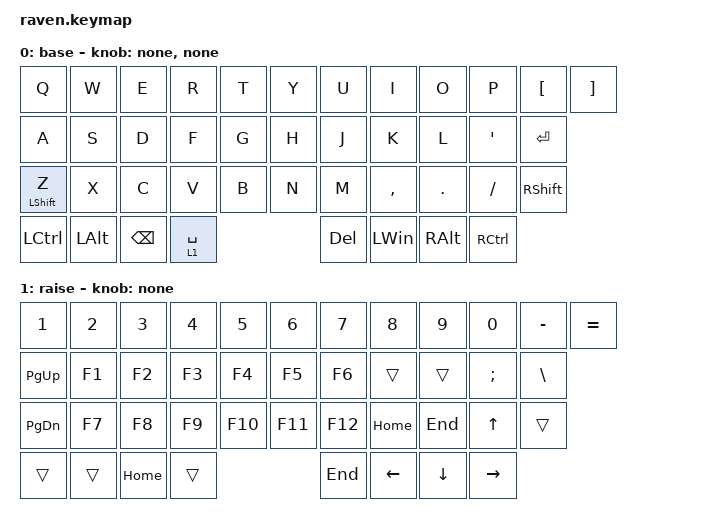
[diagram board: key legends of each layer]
#include <behaviors.dtsi>
#include <dt-bindings/zmk/keys.h>

// dt-formatter: indent = "  "
// dt-formatter: multilineIntegerCellsIndent = "reindent"
// dt-formatter: multilineListCommaStyle = "leading"

/ {
  combos {
    compatible = "zmk,combos";

    esc {
      bindings = <&kp ESCAPE>;
      key-positions = <0 1>;
    };

    tab {
      bindings = <&kp TAB>;
      key-positions = <12 13>;
    };

    caps {
      bindings = <&kp CAPS>;
      key-positions = <12 13>;
    };

    pgup {
      bindings = <&kp PAGE_UP>;
      key-positions = <23 32>;
    };

    pgdn {
      bindings = <&kp PAGE_DOWN>;
      key-positions = <23 40>;
    };

    home {
      bindings = <&kp HOME>;
      key-positions = <23 39>;
    };

    end {
      bindings = <&kp END>;
      key-positions = <23 41>;
    };
  };

  macros {
  };

  behaviors {
  };

  conditional_layers {
    compatible = "zmk,conditional-layers";
  };

  keymap {
    compatible = "zmk,keymap";

    base {
      bindings = <
        &kp Q             &kp W         &kp E  &kp R          &kp T        &kp Y              &kp U  &kp I         &kp O          &kp P      &kp LEFT_BRACKET  &kp RIGHT_BRACKET
        &kp A             &kp S         &kp D  &kp F          &kp G        &kp H              &kp J  &kp K         &kp L          &kp SQT    &kp ENTER
        &mt LEFT_SHIFT Z  &kp X         &kp C  &kp V          &kp B        &kp N              &kp M  &kp COMMA     &kp PERIOD     &kp SLASH  &kp RIGHT_SHIFT
        &kp LCTRL         &kp LEFT_ALT         &kp BACKSPACE  &lt 1 SPACE         &kp DELETE         &kp LEFT_WIN  &kp RIGHT_ALT  &kp RCTRL
      >;

      sensor-bindings = <&none>, <&none>;
    };

    raise {
      bindings = <
        &kp N1         &kp N2  &kp N3  &kp N4    &kp N5   &kp N6            &kp N7   &kp N8          &kp N9    &kp N0        &kp MINUS  &kp EQUAL
        &kp PAGE_UP    &kp F1  &kp F2  &kp F3    &kp F4   &kp F5            &kp F6   &trans          &trans    &kp SEMI      &kp BSLH
        &kp PAGE_DOWN  &kp F7  &kp F8  &kp F9    &kp F10  &kp F11           &kp F12  &kp HOME        &kp END   &kp UP_ARROW  &trans
        &trans         &trans          &kp HOME  &trans            &kp END           &kp LEFT_ARROW  &kp DOWN  &kp RIGHT
      >;

      sensor-bindings = <&none>;
    };
  };
};
